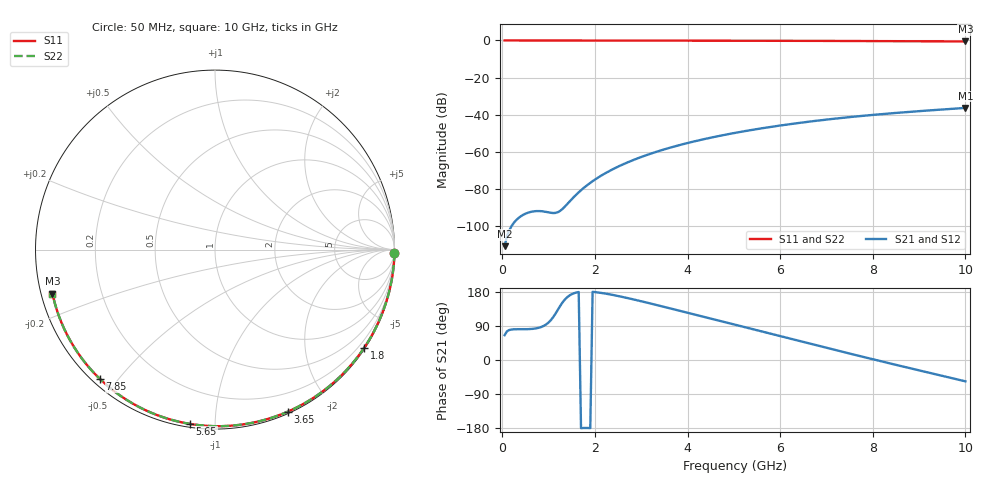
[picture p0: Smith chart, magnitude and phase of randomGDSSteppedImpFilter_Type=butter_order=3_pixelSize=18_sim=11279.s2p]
! freq	dB(S11)	phase(S11)	dB(S12)	phase(S12)
!  dB(S21)	phase(S21)	dB(S22)	phase(S22)
!S-par simulation data
#  GHz  S  DB  R 50
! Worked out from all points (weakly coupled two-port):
!   200 points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, 50 MHz to 10 GHz, reference 50 ohm
!   highest |S21| = -36.36 dB at 10 GHz (marker M1); lowest = -110.9 dB at 50 MHz (marker M2)
!   lowest |S11| = -0.6 dB at 10 GHz (marker M3), VSWR 31.36, Z = 1.62 - j6.64 ohm
!   |S11| at or under -10 dB: nowhere
!   |S22| runs from -0.6 to 0.0 dB; largest |S21 - S12| = 0
!   S11 on the Smith chart (normalised r, x): 50 MHz: open; 1.8 GHz: 0.03, -3.34; 3.65 GHz: 0.02, -1.55; 5.65 GHz: 0.02, -0.87; 7.85 GHz: 0.02, -0.45; 10 GHz: 0.03, -0.13
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0.05  -0.00 -0.9  -110.89 65.5  -110.89 65.5  -0.00 -0.9
0.45  -0.01 -8.5  -94.01 81.3  -94.01 81.3  -0.01 -8.5
0.85  -0.02 -15.9  -92.04 87.5  -92.04 87.5  -0.02 -15.9
1.7  -0.04 -31.5  -80.73 -179.8  -80.73 -179.8  -0.04 -31.5
1.75  -0.04 -32.4  -79.66 -179.4  -79.66 -179.4  -0.04 -32.4
1.8  -0.04 -33.3  -78.64 -179.3  -78.64 -179.3  -0.04 -33.3
2.1  -0.05 -38.7  -73.41 177.7  -73.41 177.7  -0.05 -38.7
2.3  -0.05 -42.3  -70.54 173.7  -70.54 173.7  -0.05 -42.3
2.5  -0.06 -45.8  -68.02 168.9  -68.02 168.9  -0.06 -45.8
2.9  -0.07 -52.8  -63.75 157.9  -63.75 157.9  -0.07 -52.8
3.4  -0.08 -61.5  -59.45 143.1  -59.45 143.1  -0.08 -61.5
3.65  -0.09 -65.7  -57.60 135.4  -57.60 135.4  -0.09 -65.7
4.3  -0.11 -76.5  -53.51 115.3  -53.51 115.3  -0.11 -76.5
5.05  -0.14 -88.7  -49.71 92.1  -49.71 92.1  -0.14 -88.7
5.65  -0.16 -98.2  -47.17 73.6  -47.17 73.6  -0.16 -98.2
6.15  -0.19 -105.9  -45.33 58.2  -45.33 58.2  -0.19 -105.9
6.7  -0.22 -114.4  -43.54 41.3  -43.54 41.3  -0.22 -114.4
7.25  -0.26 -122.7  -41.97 24.6  -41.97 24.6  -0.26 -122.7
7.85  -0.31 -131.7  -40.47 6.5  -40.47 6.5  -0.31 -131.7
8.35  -0.36 -139.3  -39.37 -8.4  -39.37 -8.4  -0.36 -139.3
9.2  -0.45 -152.3  -37.74 -33.2  -37.74 -33.2  -0.45 -152.3
10  -0.55 -164.9  -36.36 -56.2  -36.36 -56.2  -0.55 -164.9
